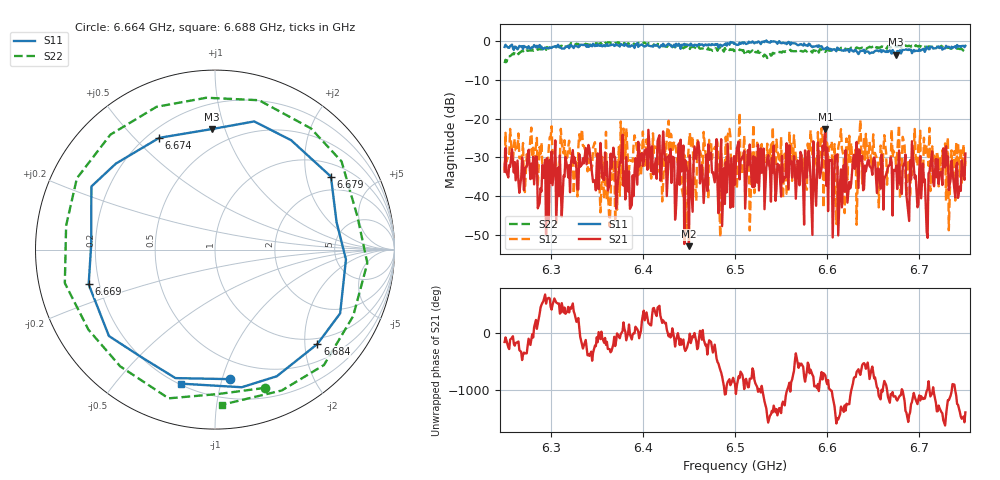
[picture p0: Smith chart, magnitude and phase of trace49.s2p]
# Hz S RI R 50
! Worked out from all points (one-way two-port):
!   401 points, 6.25 GHz to 6.75 GHz, reference 50 ohm
!   highest |S21| = -22.71 dB at 6.598 GHz (marker M1); lowest = -52.9 dB at 6.45 GHz (marker M2)
!   lowest |S11| = -3.5 dB at 6.675 GHz (marker M3), VSWR 5.09, Z = 18.5 + j45.2 ohm
!   |S11| at or under -10 dB: nowhere
!   |S22| runs from -5.6 to -0.2 dB; largest |S21 - S12| = 0.14
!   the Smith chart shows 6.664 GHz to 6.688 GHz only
!   S11 on the Smith chart (normalised r, x): 6.664 GHz: 0.35, -1.06; 6.669 GHz: 0.16, -0.13; 6.674 GHz: 0.24, +0.59; 6.679 GHz: 1.43, +2.80; 6.684 GHz: 0.86, -2.28; 6.688 GHz: 0.21, -0.76
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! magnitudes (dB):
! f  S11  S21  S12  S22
! 6.25 GHz  -1.5  -33.7  -33.4  -5.6
! 6.326 GHz  -1.1  -30.0  -34.3  -1.0
! 6.334 GHz  -0.9  -31.8  -22.7  -0.6
! 6.364 GHz  -1.1  -37.2  -47.8  -0.3
! 6.381 GHz  -0.6  -40.9  -30.4  -0.8
! 6.418 GHz  -1.6  -24.3  -33.9  -0.8
! 6.45 GHz  -0.9  -52.9  -26.3  -1.3
! 6.459 GHz  -1.3  -27.8  -25.2  -1.8
! 6.5 GHz  -0.6  -37.1  -29.9  -2.4
! 6.584 GHz  -1.5  -50.0  -29.6  -2.9
! 6.598 GHz  -1.9  -22.7  -22.9  -2.8
! 6.609 GHz  -2.3  -29.5  -39.2  -2.3
! 6.615 GHz  -2.3  -33.1  -22.7  -1.7
! 6.664 GHz  -2.8  -34.4  -28.9  -1.7
! 6.668 GHz  -2.4  -31.8  -31.8  -1.5
! 6.669 GHz  -2.7  -30.0  -31.2  -1.6
! 6.674 GHz  -3.1  -33.4  -29.4  -1.3
! 6.675 GHz  -3.5  -32.1  -33.6  -1.3
! 6.679 GHz  -2.3  -36.8  -40.1  -1.3
! 6.684 GHz  -2.2  -31.3  -26.7  -1.4
! 6.688 GHz  -2.3  -44.1  -30.6  -1.3
! 6.75 GHz  -1.2  -29.0  -31.0  -2.1
